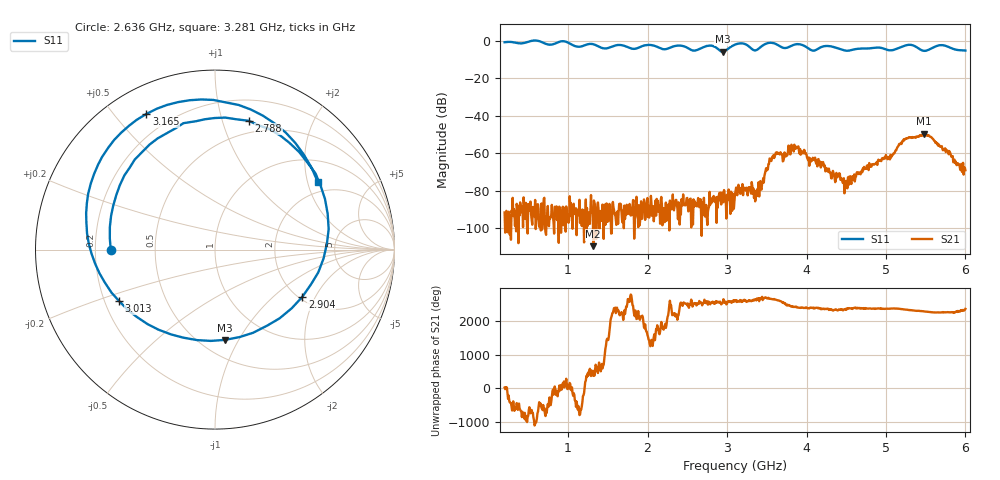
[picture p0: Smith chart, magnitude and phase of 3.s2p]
! NanoVNA-App by OneOfEleven et al v1.1.209 (+OD15)
! Date: 2024-07-30 15:24:06
! Start: 200MHz Stop: 6GHz Points: 801
! S-Parameter data: F S11 S21 S12 S22
# Hz S RI R 50
!  Frequency  S11_Real  S11_Imag  S21_Real  S21_Imag  S12_Real  S12_Imag  S22_Real  S22_Imag
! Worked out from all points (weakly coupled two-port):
!   801 points, 200 MHz to 6 GHz, reference 50 ohm
!   highest |S21| = -49.61 dB at 5.478 GHz (marker M1); lowest = -109.5 dB at 1.317 GHz (marker M2)
!   lowest |S11| = -5.9 dB at 2.948 GHz (marker M3), VSWR 3.05, Z = 32.5 - j43.9 ohm
!   |S11| at or under -10 dB: nowhere
!   S12 and S22 are empty: the file has one direction only
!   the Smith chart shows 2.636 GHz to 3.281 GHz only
!   S11 on the Smith chart (normalised r, x): 2.636 GHz: 0.27, -0.00; 2.788 GHz: 0.38, +1.22; 2.904 GHz: 2.08, -1.58; 3.013 GHz: 0.26, -0.23; 3.165 GHz: 0.11, +0.61; 3.281 GHz: 1.64, +2.32
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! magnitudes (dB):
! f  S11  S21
! 200 MHz  -0.8  -91.5
! 1.171 GHz  -3.0  -98.7
! 1.317 GHz  -1.9  -109.5
! 2.136 GHz  -3.6  -91.1
! 2.636 GHz  -4.7  -83.8
! 2.788 GHz  -2.6  -87.3
! 2.904 GHz  -5.1  -81.1
! 2.948 GHz  -5.9  -85.5
! 3.013 GHz  -4.3  -84.9
! 3.1 GHz  -2.1  -81.8
! 3.165 GHz  -1.4  -81.5
! 3.281 GHz  -3.3  -78.7
! 3.405 GHz  -4.0  -83.0
! 3.55 GHz  -1.1  -63.6
! 3.629 GHz  -2.1  -59.5
! 3.876 GHz  -1.9  -56.5
! 4.072 GHz  -5.2  -63.9
! 4.485 GHz  -5.2  -74.8
! 5.036 GHz  -5.1  -62.0
! 5.239 GHz  -2.7  -52.4
! 5.478 GHz  -5.4  -49.6
! 6 GHz  -5.3  -69.0
